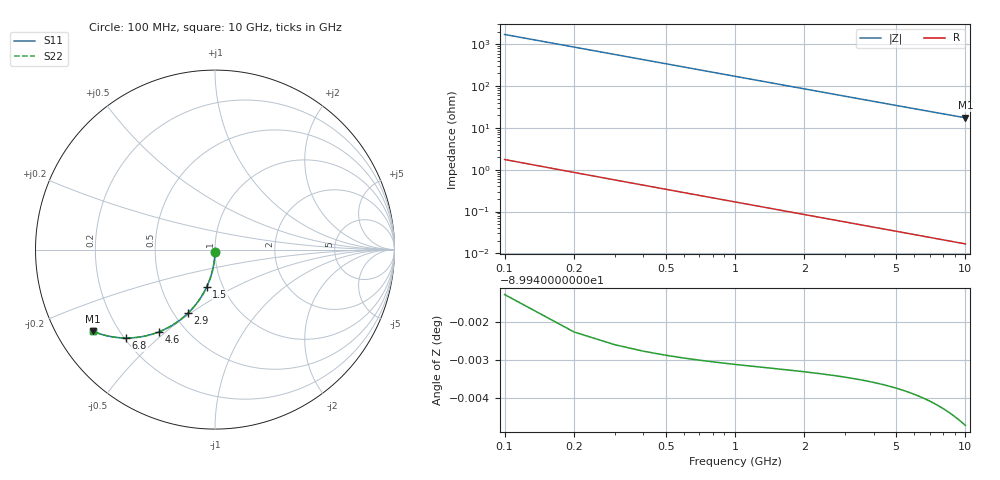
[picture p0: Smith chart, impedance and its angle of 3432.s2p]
# Hz S RI R 50.00
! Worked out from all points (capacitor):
!   100 points, 100 MHz to 10 GHz, reference 50 ohm
!   read as one part in shunt: C = 929 fF near 100 MHz
!   lowest |Z| = 17.5 ohm at 10 GHz (marker M1)
!   S11 on the Smith chart (normalised r, x): 100 MHz: 1.00, -0.03; 1.5 GHz: 0.84, -0.36; 2.9 GHz: 0.59, -0.49; 4.6 GHz: 0.36, -0.48; 6.8 GHz: 0.21, -0.40; 10 GHz: 0.11, -0.30
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1e8  -0.00021 -0.0145  0.9998 -0.0147  0.9998 -0.0147  -0.00021 -0.0145
2e8  -0.000863 -0.029  0.9991 -0.0294  0.9991 -0.0294  -0.000863 -0.029
3e8  -0.00194 -0.0434  0.998 -0.044  0.998 -0.044  -0.00194 -0.0434
4e8  -0.00344 -0.0578  0.9965 -0.0586  0.9965 -0.0586  -0.00344 -0.0578
5e8  -0.00535 -0.0721  0.9946 -0.0731  0.9946 -0.0731  -0.00535 -0.0721
6e8  -0.00767 -0.0863  0.9923 -0.0875  0.9923 -0.0875  -0.00767 -0.0863
7e8  -0.0104 -0.1004  0.9896 -0.1018  0.9896 -0.1018  -0.0104 -0.1004
9e8  -0.0171 -0.1281  0.9829 -0.1299  0.9829 -0.1299  -0.0171 -0.1281
1.2e9  -0.0299 -0.1686  0.9701 -0.171  0.9701 -0.171  -0.0299 -0.1686
1.5e9  -0.0458 -0.2072  0.9541 -0.2102  0.9541 -0.2102  -0.0458 -0.2072
1.8e9  -0.0646 -0.2436  0.9353 -0.2472  0.9353 -0.2472  -0.0646 -0.2436
2.3e9  -0.1012 -0.2989  0.8987 -0.3035  0.8987 -0.3035  -0.1012 -0.2989
2.9e9  -0.1517 -0.3553  0.8482 -0.3612  0.8482 -0.3612  -0.1517 -0.3553
3.4e9  -0.1971 -0.3939  0.8028 -0.4008  0.8028 -0.4008  -0.1971 -0.3939
4e9  -0.2534 -0.4304  0.7465 -0.4386  0.7465 -0.4386  -0.2534 -0.4304
4.6e9  -0.3096 -0.4571  0.6903 -0.4666  0.6903 -0.4666  -0.3096 -0.4571
5.1e9  -0.3552 -0.4728  0.6447 -0.4833  0.6447 -0.4833  -0.3552 -0.4728
5.9e9  -0.4241 -0.4876  0.5758 -0.4998  0.5758 -0.4998  -0.4241 -0.4876
6.7e9  -0.4869 -0.4924  0.513 -0.5063  0.513 -0.5063  -0.4869 -0.4924
6.8e9  -0.4943 -0.4924  0.5056 -0.5065  0.5056 -0.5065  -0.4943 -0.4924
8.4e9  -0.5983 -0.4809  0.4015 -0.4985  0.4015 -0.4985  -0.5983 -0.4809
1e10  -0.6785 -0.456  0.3213 -0.4771  0.3213 -0.4771  -0.6785 -0.456
